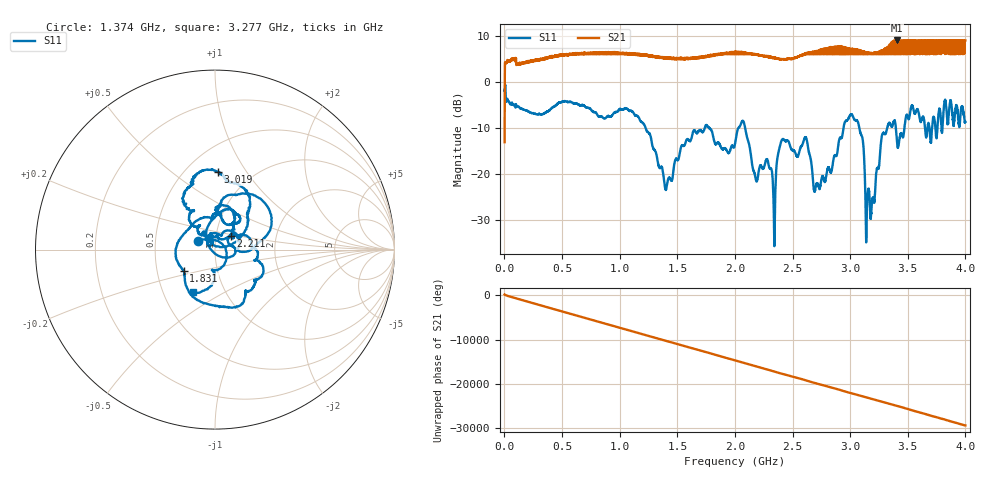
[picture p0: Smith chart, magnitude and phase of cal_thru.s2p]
!Created with skrf (http://scikit-rf.org).
# GHz S RI R 50.0
!freq ReS11 ImS11 ReS21 ImS21 ReS12 ImS12 ReS22 ImS22
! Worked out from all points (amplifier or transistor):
!   4000 points, 1 MHz to 4 GHz, reference 50 ohm
!   highest |S21| = 9.0 dB at 3.403 GHz (marker M1)
!   |S21| within 3 dB of that: 3.689 GHz to 3.87 GHz (181 MHz wide, 4.79 % of centre) (the widest 1 of 176)
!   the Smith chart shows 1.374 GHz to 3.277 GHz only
!   S11 on the Smith chart (normalised r, x): 1.374 GHz: 0.82, +0.08; 1.831 GHz: 0.68, -0.17; 2.211 GHz: 1.18, +0.18; 3.019 GHz: 0.70, +0.75; 3.277 GHz: 0.71, -0.36
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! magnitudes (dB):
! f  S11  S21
! 1 MHz  -1.8  -13.1
! 24 MHz  -3.6  4.8
! 668 MHz  -5.0  6.3
! 1.107 GHz  -6.4  5.9
! 1.334 GHz  -17.8  5.5
! 1.374 GHz  -19.3  5.3
! 1.831 GHz  -13.5  5.8
! 2.001 GHz  -13.3  6.7
! 2.071 GHz  -8.4  6.3
! 2.211 GHz  -18.8  5.8
! 2.339 GHz  -31.7  5.2
! 2.407 GHz  -12.6  5.0
! 2.609 GHz  -12.0  6.1
! 2.667 GHz  -18.5  6.0
! 2.781 GHz  -21.6  6.1
! 3.019 GHz  -7.3  7.1
! 3.099 GHz  -11.6  6.4
! 3.155 GHz  -23.6  6.3
! 3.277 GHz  -11.5  6.9
! 3.334 GHz  -9.1  6.4
! 3.403 GHz  -11.9  9.0
! 4 GHz  -8.6  9.0
